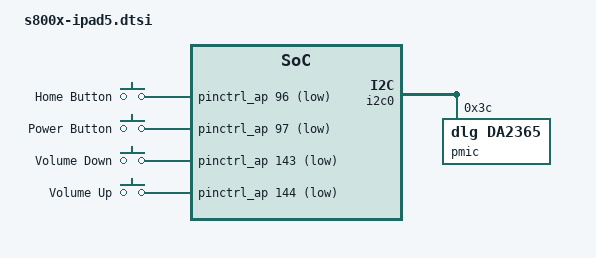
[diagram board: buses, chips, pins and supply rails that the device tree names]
// SPDX-License-Identifier: GPL-2.0+ OR MIT
/*
 * Apple iPad 5 common device tree
 *
 * Copyright (c) 2022, Konrad Dybcio <konradybcio@kernel.org>
 */

#include "s800-0-3-common.dtsi"
#include <dt-bindings/input/input.h>

/ {
	chassis-type = "tablet";

	gpio-keys {
		compatible = "gpio-keys";

		button-home {
			label = "Home Button";
			gpios = <&pinctrl_ap 96 GPIO_ACTIVE_LOW>;
			linux,code = <KEY_HOMEPAGE>;
			wakeup-source;
		};

		button-power {
			label = "Power Button";
			gpios = <&pinctrl_ap 97 GPIO_ACTIVE_LOW>;
			linux,code = <KEY_POWER>;
			wakeup-source;
		};

		button-voldown {
			label = "Volume Down";
			gpios = <&pinctrl_ap 143 GPIO_ACTIVE_LOW>;
			linux,code = <KEY_VOLUMEDOWN>;
		};

		button-volup {
			label = "Volume Up";
			gpios = <&pinctrl_ap 144 GPIO_ACTIVE_LOW>;
			linux,code = <KEY_VOLUMEUP>;
		};
	};
};

&framebuffer0 {
	power-domains = <&ps_disp0 &ps_dp>;
};

&i2c0 {
	status = "okay";

	pmic@3c {
		compatible = "dlg,da2365", "dlg,i2c-da2xxx";
		reg = <0x3c>;
		#address-cells = <1>;
		#size-cells = <1>;

		rtc@500 {
			compatible = "dlg,da2365-rtc", "dlg,da2255-rtc";
			reg = <0x500 0x10>;
			nvmem-cells = <&rtc_offset>;
			nvmem-cell-names = "rtc_offset";
		};

		nvmem@5000 {
			compatible = "dlg,da2xxx-nvmem";
			reg = <0x5000 0x28>;

			nvmem-layout {
				compatible = "fixed-layout";
				#address-cells = <1>;
				#size-cells = <1>;

				rtc_offset: rtc-offset@4 {
					reg = <0x4 0x4>;
				};
			};
		};
	};
};
